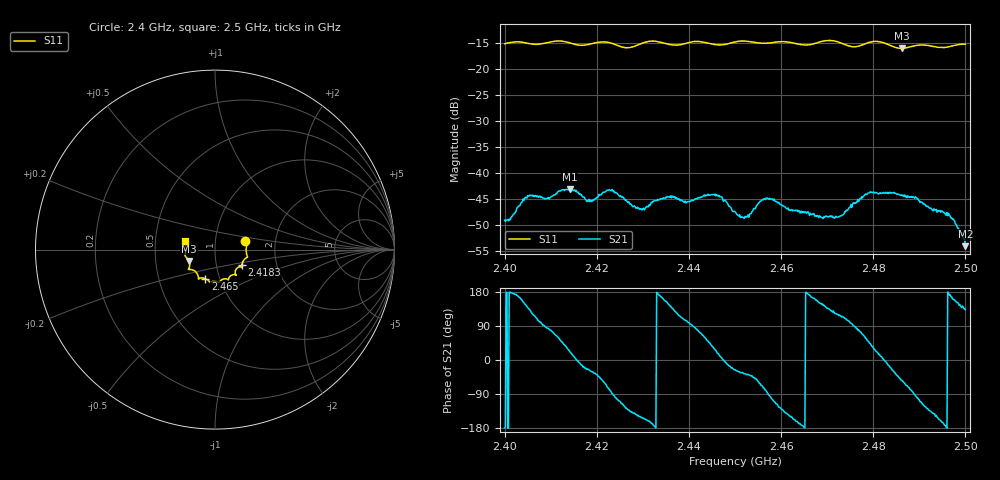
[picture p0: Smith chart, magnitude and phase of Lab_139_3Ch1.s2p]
# Hz S RI R 50
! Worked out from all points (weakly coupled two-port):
!   601 points, 2.4 GHz to 2.5 GHz, reference 50 ohm
!   highest |S21| = -43.18 dB at 2.4142 GHz (marker M1); lowest = -54.1 dB at 2.5 GHz (marker M2)
!   lowest |S11| = -16.0 dB at 2.4862 GHz (marker M3), VSWR 1.37, Z = 37.1 - j4.8 ohm
!   |S11| at or under -10 dB: start of sweep to end of sweep
!   S12 and S22 are empty: the file has one direction only
!   S11 on the Smith chart (normalised r, x): 2.4 GHz: 1.40, +0.13; 2.4183 GHz: 1.33, -0.24; 2.465 GHz: 0.86, -0.29; 2.5 GHz: 0.71, +0.07
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2.4e9  0.1689 0.0458  -0.0035 -5.33e-05  0 0  0 0
2.405e9  0.1759 0.0189  -0.0045 0.00401  0 0  0 0
2.409167e9  0.1768 -0.0288  0.000558 0.00565  0 0  0 0
2.414167e9  0.1716 -0.048  0.00645 0.00254  0 0  0 0
2.416667e9  0.1548 -0.0685  0.00601 -0.00142  0 0  0 0
2.418333e9  0.1496 -0.0869  0.00496 -0.00248  0 0  0 0
2.422833e9  0.15 -0.0983  0.00122 -0.00671  0 0  0 0
2.4295e9  0.113 -0.1333  -0.00387 -0.00229  0 0  0 0
2.433333e9  0.1166 -0.1413  -0.00542 0.000571  0 0  0 0
2.439833e9  0.0763 -0.162  -0.000842 0.00521  0 0  0 0
2.445667e9  0.0561 -0.1624  0.00554 0.00287  0 0  0 0
2.45e9  0.025 -0.1806  0.00381 -0.00181  0 0  0 0
2.4525e9  0.0197 -0.1841  0.00297 -0.00235  0 0  0 0
2.457333e9  -0.0124 -0.1774  -0.000208 -0.00556  0 0  0 0
2.465e9  -0.053 -0.1621  -0.00413 -0.000166  0 0  0 0
2.466667e9  -0.0715 -0.1575  -0.00385 0.000978  0 0  0 0
2.4725e9  -0.0916 -0.1567  -0.00173 0.00336  0 0  0 0
2.478833e9  -0.1405 -0.1108  0.00405 0.00492  0 0  0 0
2.483333e9  -0.1423 -0.0959  0.00611 -0.00157  0 0  0 0
2.486167e9  -0.1447 -0.0631  0.0036 -0.00497  0 0  0 0
2.4965e9  -0.1625 0.0221  -0.0039 0.000608  0 0  0 0
2.5e9  -0.1669 0.0473  -0.00133 0.00144  0 0  0 0
